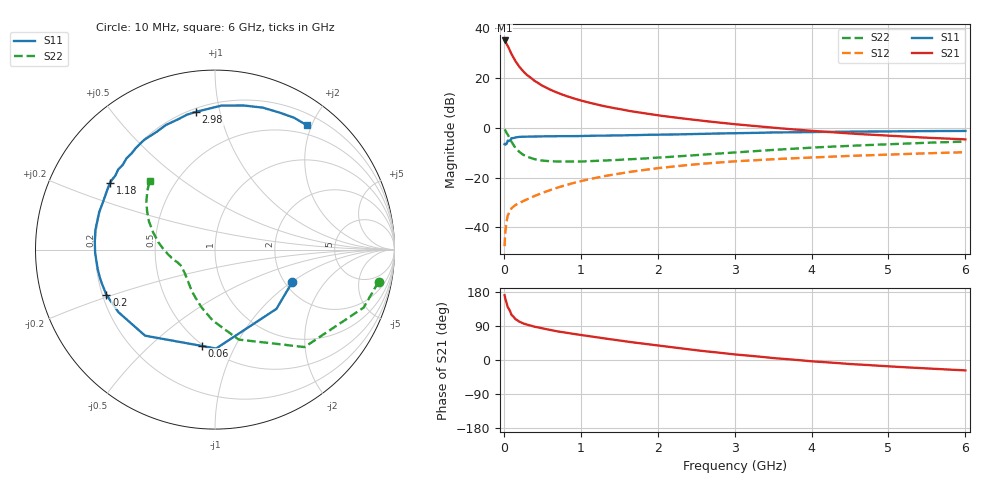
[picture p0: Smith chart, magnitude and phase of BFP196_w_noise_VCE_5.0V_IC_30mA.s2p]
! Infineon Technologies  Discrete & RF Semiconductors
! BFP196
! VCE = 5.0 V,  IC =  30mA
! Common Emitter S-Parameters:  Jan 2016
# GHz  S  MA  R  50
!  f  S11  S21  S12  S22
! GHz  MAG  ANG  MAG  ANG  MAG  ANG  MAG  ANG
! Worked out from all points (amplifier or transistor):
!   210 points, 10 MHz to 6 GHz, reference 50 ohm
!   highest |S21| = 35.0 dB at 10 MHz (marker M1)
!   |S21| within 3 dB of that: start of sweep to 63.59 MHz
!   unconditionally stable (mu >= 1): 594.5 MHz to 3.997 GHz; 4.017 GHz to 4.207 GHz
!   at 185 MHz: K = 0.57, MSG = 27.9 dB, |S12| = -30.5 dB
!   at 1.52 GHz: K = 1.09, MAG = 11.0 dB, |S12| = -18.3 dB
!   at 6 GHz: K = 0.96, MSG = 2.6 dB, |S12| = -9.8 dB
!   lowest NFmin = 1.40 dB at 500 MHz
!   S11 on the Smith chart (normalised r, x): 10 MHz: 2.18, -1.02; 60 MHz: 0.49, -0.75; 200 MHz: 0.22, -0.19; 1.18 GHz: 0.20, +0.28; 2.98 GHz: 0.22, +0.85; 6 GHz: 0.36, +1.93
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0.01  0.4669 -23.0  56.35 170.9  0.0042 83.1  0.9287 -11.1
0.02  0.4756 -44.0  53.74 161.0  0.0084 73.8  0.8891 -21.3
0.05  0.5512 -89.4  44.19 139.7  0.0172 58.9  0.7378 -47.4
0.06  0.5418 -97.8  41.01 136.7  0.0185 56.0  0.6837 -51.5
0.1  0.6179 -129.1  29.94 118.9  0.0242 47.6  0.5186 -75.2
0.15  0.641 -147.0  21.66 107.9  0.0281 44.3  0.3956 -91.8
0.2  0.6554 -157.3  16.83 101.2  0.0307 45.1  0.3291 -103.4
0.26  0.6599 -166.0  13.15 95.9  0.0342 46.7  0.2822 -113.9
0.3  0.6624 -170.5  11.45 93.1  0.0364 48.0  0.264 -119.4
0.4  0.668 -178.3  8.697 87.8  0.0427 51.5  0.2337 -130.0
0.5  0.6714 176.0  6.966 83.5  0.0491 54.1  0.2192 -137.6
0.6  0.6754 170.7  5.825 79.3  0.0558 55.4  0.2128 -142.8
0.7  0.675 166.0  5.013 75.4  0.063 56.8  0.21 -146.8
1.02  0.682 153.5  3.455 65.4  0.0861 56.7  0.2104 -155.3
1.18  0.6926 147.7  2.998 60.6  0.0975 56.0  0.2151 -158.3
1.6  0.7083 134.1  2.21 48.6  0.1272 51.9  0.2315 -165.0
2.02  0.7278 122.1  1.759 37.9  0.1554 46.7  0.2522 -171.4
2.98  0.7745 97.8  1.187 15.2  0.2105 34.1  0.3172 172.8
3.1  0.7791 95.3  1.14 13.0  0.2158 32.4  0.3261 170.7
4.1  0.8211 77.1  0.845 -4.7  0.2568 20.2  0.4059 155.6
5.1  0.8458 63.5  0.679 -17.9  0.2927 9.3  0.4725 143.8
6  0.8615 53.4  0.584 -27.4  0.3226 -0.8  0.528 133.5
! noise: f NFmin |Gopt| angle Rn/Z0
0.5  1.4  0.4  -173  0.08
0.9  1.6  0.5  -166  0.08
1.5  2.4  0.61  -150  0.14
2  2.9  0.71  -129  0.2
